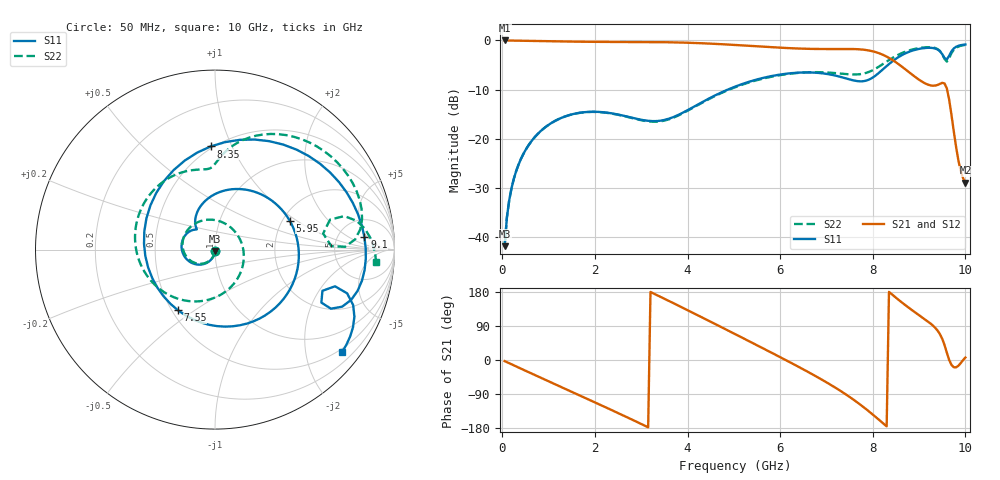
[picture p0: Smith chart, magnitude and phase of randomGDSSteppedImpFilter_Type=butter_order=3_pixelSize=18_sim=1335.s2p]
! freq	dB(S11)	phase(S11)	dB(S12)	phase(S12)
!  dB(S21)	phase(S21)	dB(S22)	phase(S22)
!S-par simulation data
#  GHz  S  DB  R 50
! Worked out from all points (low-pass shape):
!   200 points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, 50 MHz to 10 GHz, reference 50 ohm
!   highest |S21| = 0.00 dB at 50 MHz (marker M1); lowest = -28.9 dB at 10 GHz (marker M2)
!   |S21| within 3 dB of the highest: start of sweep to 8.239 GHz
!   lowest |S11| = -41.8 dB at 50 MHz (marker M3), VSWR 1.02, Z = 50 - j0.812 ohm
!   |S11| at or under -10 dB: start of sweep to 4.867 GHz
!   |S22| runs from -41.8 to -0.9 dB; largest |S21 - S12| = 0
!   S11 on the Smith chart (normalised r, x): 50 MHz: 1.00, -0.02; 5.95 GHz: 2.18, +0.88; 7.55 GHz: 0.54, -0.43; 8.35 GHz: 0.49, +0.83; 9.1 GHz: 9, +4; 10 GHz: 0.42, -2.78
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0.05  -41.80 -91.0  -0.00 -2.9  -0.00 -2.9  -41.81 -91.2
0.2  -29.98 -100.7  -0.02 -11.4  -0.02 -11.4  -29.98 -101.4
0.5  -22.31 -117.7  -0.06 -28.3  -0.06 -28.3  -22.31 -119.6
1.15  -16.29 -152.6  -0.18 -64.6  -0.18 -64.6  -16.30 -158.1
1.75  -14.60 177.5  -0.27 -97.9  -0.27 -97.9  -14.62 165.1
2.65  -15.37 141.8  -0.31 -148.6  -0.31 -148.6  -15.43 99.5
3.4  -16.33 131.7  -0.35 167.6  -0.35 167.6  -16.45 21.8
4.3  -12.62 114.6  -0.57 113.2  -0.57 113.2  -12.73 -69.9
5.05  -9.31 77.1  -0.93 67.0  -0.93 67.0  -9.44 -124.4
5.95  -7.01 21.3  -1.45 10.7  -1.45 10.7  -7.13 179.5
6.7  -6.52 -31.9  -1.73 -38.0  -1.73 -38.0  -6.45 135.9
7.2  -7.16 -77.0  -1.74 -73.6  -1.74 -73.6  -6.64 110.5
7.55  -8.05 -121.7  -1.74 -101.7  -1.74 -101.7  -6.92 97.6
7.95  -7.81 165.4  -2.10 -138.9  -2.10 -138.9  -6.26 89.2
8.35  -4.80 92.3  -3.54 179.7  -3.54 179.7  -3.99 75.5
8.65  -2.87 50.8  -5.48 149.7  -5.48 149.7  -2.48 58.1
9.1  -1.56 5.0  -8.57 109.8  -8.57 109.8  -1.43 29.0
9.45  -2.20 -24.2  -8.82 68.3  -8.82 68.3  -2.13 4.2
9.6  -3.86 -21.0  -9.77 19.0  -9.77 19.0  -4.31 8.5
9.7  -2.21 -18.3  -15.18 -12.9  -15.18 -12.9  -2.56 14.5
9.85  -1.09 -29.4  -24.44 -15.1  -24.44 -15.1  -1.24 4.5
10  -0.82 -38.9  -28.90 6.5  -28.90 6.5  -0.91 -4.5
